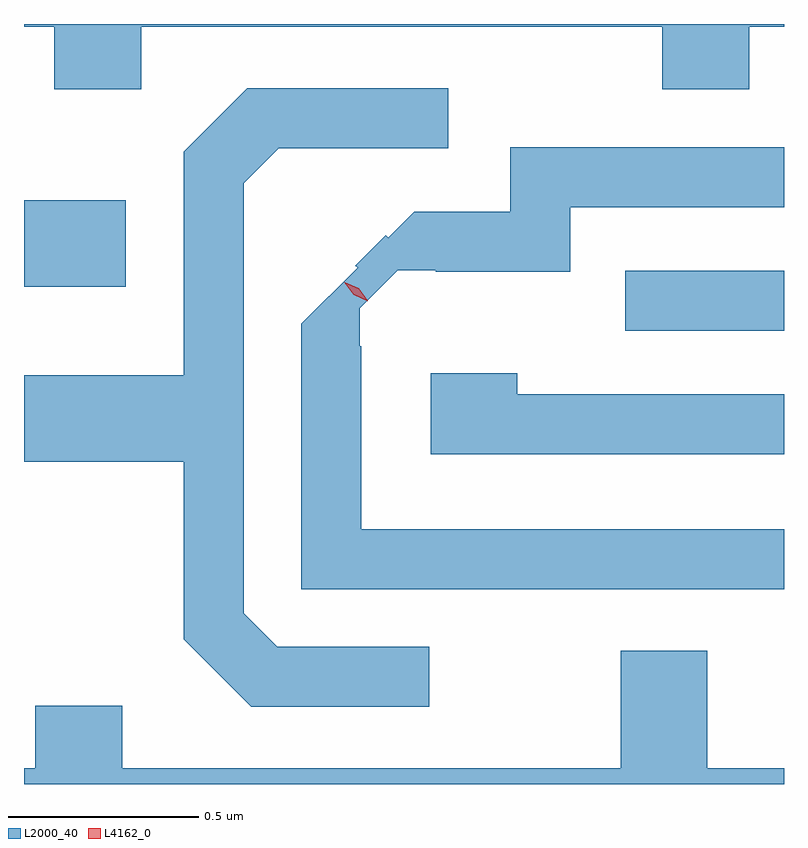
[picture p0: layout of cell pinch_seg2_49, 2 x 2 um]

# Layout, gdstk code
import gdstk
lib = gdstk.Library(unit=1e-6, precision=1e-09)
def R(c, l, rs):  # rectangles x0, y0, x1, y1
    for r in rs: c.add(gdstk.rectangle(r[:2], r[2:], *l))
def P(c, l, *ps):  # polygons
    for p in ps: c.add(gdstk.Polygon(p, *l))
L2000_40 = (2000, 40)
L4162_0 = (4162, 0)

pinch_seg2_49 = lib.new_cell('pinch_seg2_49')
R(pinch_seg2_49, L2000_40, [(1101.343,1103.016,1101.761,1103.174), (1099.761,1103.131,1100.029,1103.359)])
P(pinch_seg2_49, L2000_40, [(1100.069,1103.816),(1101.441,1103.816),(1101.441,1103.651),(1101.669,1103.651),(1101.669,1103.816),(1101.761,1103.816),(1101.761,1103.823),(1099.761,1103.823),(1099.761,1103.816),(1099.841,1103.816),(1099.841,1103.651),(1100.069,1103.651)],
  [(1100.828,1102.184),(1100.427,1102.184),(1100.339,1102.272),(1100.339,1103.404),(1100.432,1103.496),(1100.878,1103.496),(1100.878,1103.654),(1100.349,1103.654),(1100.181,1103.487),(1100.181,1102.899),(1099.761,1102.899),(1099.761,1102.671),(1100.181,1102.671),(1100.181,1102.204),(1100.359,1102.026),(1100.828,1102.026)],
  [(1101.761,1102.494),(1100.649,1102.494),(1100.649,1102.975),(1100.645,1102.975),(1100.645,1103.075),(1100.745,1103.175),(1100.845,1103.175),(1100.845,1103.171),(1101.199,1103.171),(1101.199,1103.341),(1101.761,1103.341),(1101.761,1103.499),(1101.041,1103.499),(1101.041,1103.329),(1100.788,1103.329),(1100.719,1103.26),(1100.713,1103.267),(1100.633,1103.187),(1100.639,1103.182),(1100.491,1103.034),(1100.491,1102.336),(1101.761,1102.336)],
  [(1101.761,1102.849),(1101.059,1102.849),(1101.059,1102.904),(1100.831,1102.904),(1100.831,1102.691),(1101.761,1102.691)],
  [(1101.761,1101.864),(1101.559,1101.864),(1101.559,1102.174),(1101.331,1102.174),(1101.331,1101.864),(1100.019,1101.864),(1100.019,1102.029),(1099.791,1102.029),(1099.791,1101.864),(1099.761,1101.864),(1099.761,1101.823),(1101.761,1101.823)])
P(pinch_seg2_49, L4162_0, [(1100.666,1103.094),(1100.629,1103.111),(1100.604,1103.143),(1100.604,1103.144),(1100.605,1103.144),(1100.642,1103.127),(1100.666,1103.095),(1100.666,1103.094)],
  [(1100.66,1103.098),(1100.629,1103.111),(1100.61,1103.138),(1100.61,1103.139),(1100.61,1103.139),(1100.641,1103.126),(1100.661,1103.099),(1100.661,1103.098)])

lib.write_gds('pinch_seg2_49.gds')
